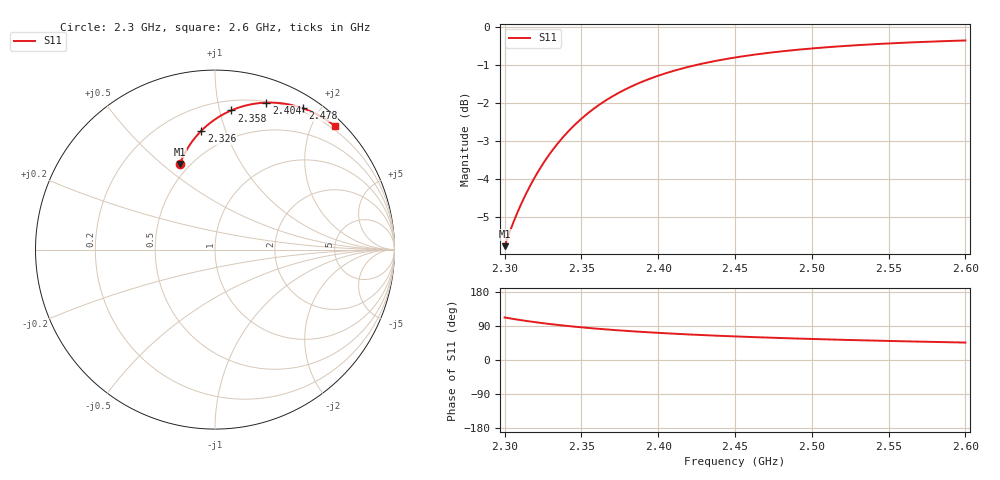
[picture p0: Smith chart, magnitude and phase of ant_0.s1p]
! Touchstone file exported from HFSS 2022.2.0
!  File:  /home/fengz3/Antenna/yi_ant1.aedt
!  Generated:  5:05:41 PM  Dec 19, 2022
!  Design:  ant
!  Project:  yi_ant1
!  Setup:  Setup1
!  Solution:  Sweep
! Variables:
!  boxx = 80mm
!  boxy = 80mm
!  boxz = 60mm
!  gndslot_x = 8mm
!  gndslot_y = 16mm
!  gndx = 50mm
!  linew = 1mm
!  linex = 25mm
!  patchx = 30.63mm
!  patchy = 32.45mm
!  porth = 6mm
!  portw = 12mm
!  slot1_x = 0.01mm
!  slot1_y = 0.01mm
!  slot2_x = 0.01mm
!  slot2_y = 0.01mm
!  sub1_x = 8mm
!  sub1_y = 18mm
!  subx = 50mm
!  suby = 52mm
!  subz = 1.6mm
# GHz S MA R 50.000000
! Terminal data exported
! Port[1] = 1
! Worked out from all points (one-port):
!   151 points, 2.3 GHz to 2.6 GHz, reference 50 ohm
!   lowest |S11| = -5.8 dB at 2.3 GHz (marker M1), VSWR 3.13, Z = 22.2 + j28.8 ohm
!   |S11| at or under -10 dB: nowhere
!   S11 on the Smith chart (normalised r, x): 2.3 GHz: 0.44, +0.58; 2.326 GHz: 0.35, +0.83; 2.358 GHz: 0.27, +1.09; 2.404 GHz: 0.21, +1.39; 2.478 GHz: 0.16, +1.79; 2.6 GHz: 0.14, +2.35
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2.3  0.5158 112.2
! Gamma 0.726647195826984 83.5312173196599
! Port Impedance 50 0
2.306  0.556 108.1
2.312  0.5928 104.3
2.318  0.6262 100.8
2.322  0.6467 98.7
2.326  0.666 96.6
2.332  0.6925 93.7
2.338  0.7164 91.0
2.342  0.7311 89.4
2.348  0.7512 87.0
2.358  0.7806 83.4
2.366  0.8008 80.7
2.376  0.8225 77.7
2.382  0.8339 76.1
2.39  0.8475 74.0
2.404  0.8677 70.7
2.414  0.8796 68.6
2.422  0.888 67.0
2.432  0.8973 65.2
2.45  0.9111 62.2
2.464  0.9197 60.1
2.478  0.927 58.2
2.488  0.9315 56.9
2.506  0.9384 54.8
2.526  0.9446 52.6
2.544  0.9492 50.8
2.564  0.9533 49.0
2.6  0.9591 46.0
